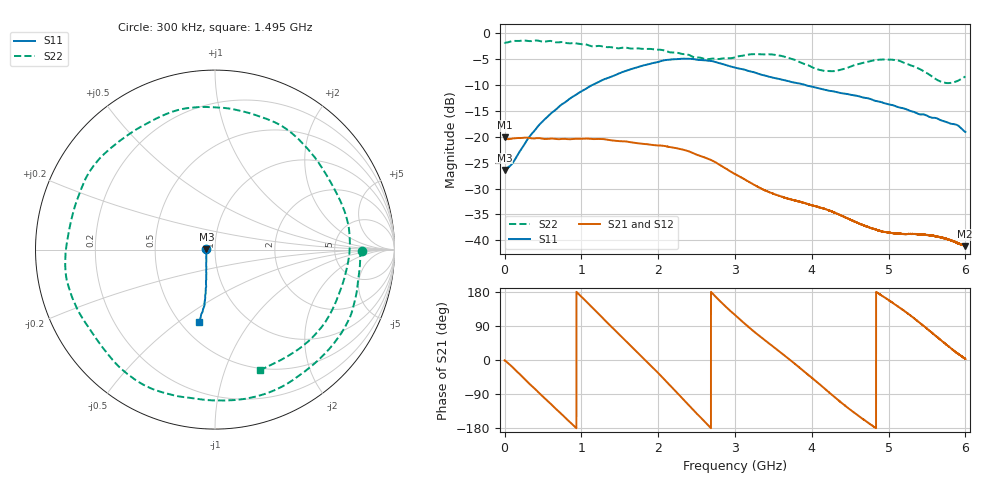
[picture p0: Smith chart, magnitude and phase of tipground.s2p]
!  8/6/2020  01:35:50
! Ref Plane: 0.000 mm
# MHZ S MA R  50
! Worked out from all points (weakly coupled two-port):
!   10001 points, 300 kHz to 6 GHz, reference 50 ohm
!   highest |S21| = -20.11 dB at 300 kHz (marker M1); lowest = -41.1 dB at 5.994 GHz (marker M2)
!   lowest |S11| = -26.4 dB at 900 kHz (marker M3), VSWR 1.10, Z = 45.4 + j0.085 ohm
!   |S11| at or under -10 dB: start of sweep to 1.144 GHz; 3.916 GHz to end of sweep
!   |S22| runs from -9.6 to -1.4 dB; largest |S21 - S12| = 0.0021
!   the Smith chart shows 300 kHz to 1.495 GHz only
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0.3  0.04797 178.2  0.09871 -1.0  0.09662 -0.9  0.8165 -0.4
0.9  0.04772 178.9  0.09486 -0.5  0.09548 -0.3  0.8103 -0.5
299.685  0.09456 -121.5  0.09783 -58.1  0.098 -58.1  0.8429 -85.6
597.2702  0.1665 -107.0  0.09592 -115.0  0.09606 -114.9  0.8431 -169.8
1000.45  0.2745 -101.4  0.09541 166.9  0.09544 166.9  0.7841 75.7
1257.237  0.3486 -101.3  0.09516 115.2  0.09527 115.2  0.7508 0.3
1546.423  0.425 -102.8  0.09039 57.0  0.0905 57.0  0.7262 -83.6
1791.81  0.4852 -105.7  0.08553 7.5  0.08579 7.5  0.707 -150.2
2000.6  0.5282 -109.1  0.08243 -34.5  0.08254 -34.6  0.6937 155.1
2257.987  0.5632 -115.6  0.07697 -89.1  0.07722 -89.1  0.6464 87.7
2539.973  0.5518 -122.0  0.06554 -149.1  0.06557 -149.1  0.5824 7.2
2787.761  0.5164 -126.9  0.05422 158.8  0.05421 158.9  0.5635 -68.5
3000.15  0.4658 -127.5  0.04354 118.7  0.04345 118.8  0.5861 -130.4
3240.738  0.4215 -127.2  0.03463 76.1  0.03459 76.2  0.6274 167.3
3526.324  0.3678 -123.9  0.02765 30.7  0.02755 30.6  0.6174 99.1
4000.3  0.3054 -117.0  0.0218 -46.7  0.02172 -46.6  0.471 -26.1
4228.289  0.2779 -112.7  0.01937 -86.0  0.01936 -86.0  0.431 -101.3
4496.475  0.2555 -107.9  0.01588 -130.7  0.01593 -130.5  0.4739 174.2
5000.45  0.2052 -100.6  0.0119 158.2  0.01186 158.0  0.5562 51.0
5509.824  0.1584 -87.1  0.01126 81.3  0.01124 81.2  0.4082 -73.8
5994  0.1119 -78.3  0.008768 3.8  0.008891 3.7  0.3797 121.8
6000  0.1113 -78.3  0.00886 2.6  0.008865 2.7  0.3819 120.1
